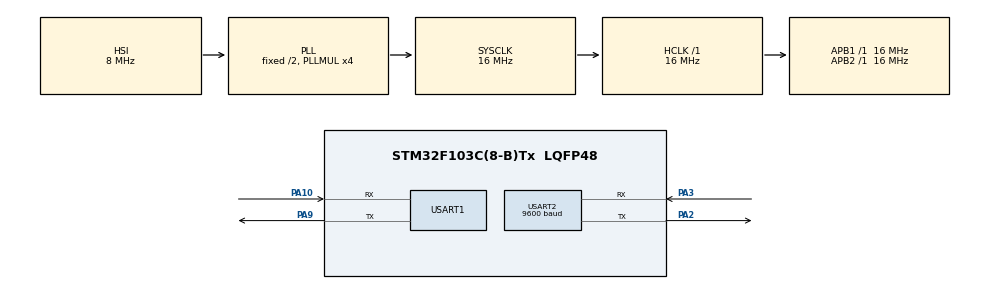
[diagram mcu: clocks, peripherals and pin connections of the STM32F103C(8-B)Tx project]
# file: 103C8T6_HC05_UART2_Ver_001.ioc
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Mcu.Family=STM32F1
Mcu.Name=STM32F103C(8-B)Tx
Mcu.Package=LQFP48
NVIC.PriorityGroup=NVIC_PRIORITYGROUP_4
PA10.Mode=Asynchronous
PA10.Signal=USART1_RX
PA13.Mode=Serial_Wire
PA13.Signal=SYS_JTMS-SWDIO
PA14.Mode=Serial_Wire
PA14.Signal=SYS_JTCK-SWCLK
PA2.Mode=Asynchronous
PA2.Signal=USART2_TX
PA3.Mode=Asynchronous
PA3.Signal=USART2_RX
PA9.Mode=Asynchronous
PA9.Signal=USART1_TX
PC14-OSC32_IN.Mode=LSE-External-Oscillator
PC14-OSC32_IN.Signal=RCC_OSC32_IN
PC15-OSC32_OUT.Mode=LSE-External-Oscillator
PC15-OSC32_OUT.Signal=RCC_OSC32_OUT
PD0-OSC_IN.Mode=HSE-External-Oscillator
PD0-OSC_IN.Signal=RCC_OSC_IN
PD1-OSC_OUT.Mode=HSE-External-Oscillator
PD1-OSC_OUT.Signal=RCC_OSC_OUT
ProjectManager.HeapSize=0x200
ProjectManager.StackSize=0x400
ProjectManager.TargetToolchain=STM32CubeIDE
RCC.AHBFreq_Value=16000000
RCC.APB1Freq_Value=16000000
RCC.APB1TimFreq_Value=16000000
RCC.APB2Freq_Value=16000000
RCC.APB2TimFreq_Value=16000000
RCC.HCLKFreq_Value=16000000
RCC.PLLMUL=RCC_PLL_MUL4
RCC.SYSCLKFreq_VALUE=16000000
RCC.SYSCLKSource=RCC_SYSCLKSOURCE_PLLCLK
RCC.USBFreq_Value=16000000
USART1.VirtualMode=VM_ASYNC
USART2.BaudRate=9600
USART2.VirtualMode=VM_ASYNC
board=custom

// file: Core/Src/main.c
/* USER CODE BEGIN Header */
/**
 ******************************************************************************
 * @file           : main.c
 * @brief          : Main program body
 ******************************************************************************
 * @attention
 *
 * Copyright (c) 2025 STMicroelectronics.
 * All rights reserved.
 *
 * This software is licensed under terms that can be found in the LICENSE file
 * in the root directory of this software component.
 * If no LICENSE file comes with this software, it is provided AS-IS.
 *
 ******************************************************************************
 */
/* USER CODE END Header */
#include "main.h"

/* USER CODE BEGIN Includes */
#include <stdio.h>
#include <string.h>
/* USER CODE END Includes */

UART_HandleTypeDef huart1;
UART_HandleTypeDef huart2;

/* USER CODE BEGIN PV */
uint8_t pc_rx;     // From UART1
uint8_t bt_rx;     // From UART2
char msg[100];
/* USER CODE END PV */

void SystemClock_Config(void);
static void MX_GPIO_Init(void);
static void MX_USART1_UART_Init(void);
static void MX_USART2_UART_Init(void);

int main(void) {

	/* MCU Configuration--------------------------------------------------------*/

	/* Reset of all peripherals, Initializes the Flash interface and the Systick. */
	HAL_Init();

	/* Configure the system clock */
	SystemClock_Config();

	/* Initialize all configured peripherals */
	MX_GPIO_Init();
	MX_USART1_UART_Init();
	MX_USART2_UART_Init();
	/* USER CODE BEGIN 2 */

	sprintf(msg, "\r\nHC-05 UART Bridge Started...\r\n");
	HAL_UART_Transmit(&huart1, (uint8_t*) msg, strlen(msg), 100);

	sprintf(msg, "Type on PC → Sent to Bluetooth\r\n");
	HAL_UART_Transmit(&huart1, (uint8_t*) msg, strlen(msg), 100);

	sprintf(msg, "Type from Phone App → Shows on PC\r\n\r\n");
	HAL_UART_Transmit(&huart1, (uint8_t*) msg, strlen(msg), 100);
	/* USER CODE END 2 */

	/* Infinite loop */
	while (1) {

		/* USER CODE BEGIN 3 */
		if (HAL_UART_Receive(&huart1, &pc_rx, 1, 1) == HAL_OK) {
			HAL_UART_Transmit(&huart2, &pc_rx, 1, 1);
		}

		/* --- HC-05 → PC --- */
		if (HAL_UART_Receive(&huart2, &bt_rx, 1, 1) == HAL_OK) {
			HAL_UART_Transmit(&huart1, &bt_rx, 1, 1);
		}
	}
	/* USER CODE END 3 */
}

void SystemClock_Config(void) {
	RCC_OscInitTypeDef RCC_OscInitStruct = { 0 };
	RCC_ClkInitTypeDef RCC_ClkInitStruct = { 0 };

	/** Initializes the RCC Oscillators according to the specified parameters
	 * in the RCC_OscInitTypeDef structure.
	 */
	RCC_OscInitStruct.OscillatorType = RCC_OSCILLATORTYPE_HSI;
	RCC_OscInitStruct.HSIState = RCC_HSI_ON;
	RCC_OscInitStruct.HSICalibrationValue = RCC_HSICALIBRATION_DEFAULT;
	RCC_OscInitStruct.PLL.PLLState = RCC_PLL_ON;
	RCC_OscInitStruct.PLL.PLLSource = RCC_PLLSOURCE_HSI_DIV2;
	RCC_OscInitStruct.PLL.PLLMUL = RCC_PLL_MUL4;
	if (HAL_RCC_OscConfig(&RCC_OscInitStruct) != HAL_OK) {
		Error_Handler();
	}

	/** Initializes the CPU, AHB and APB buses clocks
	 */
	RCC_ClkInitStruct.ClockType = RCC_CLOCKTYPE_HCLK | RCC_CLOCKTYPE_SYSCLK
			| RCC_CLOCKTYPE_PCLK1 | RCC_CLOCKTYPE_PCLK2;
	RCC_ClkInitStruct.SYSCLKSource = RCC_SYSCLKSOURCE_PLLCLK;
	RCC_ClkInitStruct.AHBCLKDivider = RCC_SYSCLK_DIV1;
	RCC_ClkInitStruct.APB1CLKDivider = RCC_HCLK_DIV1;
	RCC_ClkInitStruct.APB2CLKDivider = RCC_HCLK_DIV1;

	if (HAL_RCC_ClockConfig(&RCC_ClkInitStruct, FLASH_LATENCY_0) != HAL_OK) {
		Error_Handler();
	}
}

static void MX_USART1_UART_Init(void) {

	huart1.Instance = USART1;
	huart1.Init.BaudRate = 115200;
	huart1.Init.WordLength = UART_WORDLENGTH_8B;
	huart1.Init.StopBits = UART_STOPBITS_1;
	huart1.Init.Parity = UART_PARITY_NONE;
	huart1.Init.Mode = UART_MODE_TX_RX;
	huart1.Init.HwFlowCtl = UART_HWCONTROL_NONE;
	huart1.Init.OverSampling = UART_OVERSAMPLING_16;
	if (HAL_UART_Init(&huart1) != HAL_OK) {
		Error_Handler();
	}

}

static void MX_USART2_UART_Init(void) {

	huart2.Instance = USART2;
	huart2.Init.BaudRate = 9600;
	huart2.Init.WordLength = UART_WORDLENGTH_8B;
	huart2.Init.StopBits = UART_STOPBITS_1;
	huart2.Init.Parity = UART_PARITY_NONE;
	huart2.Init.Mode = UART_MODE_TX_RX;
	huart2.Init.HwFlowCtl = UART_HWCONTROL_NONE;
	huart2.Init.OverSampling = UART_OVERSAMPLING_16;
	if (HAL_UART_Init(&huart2) != HAL_OK) {
		Error_Handler();
	}

}

static void MX_GPIO_Init(void) {

	/* GPIO Ports Clock Enable */
	__HAL_RCC_GPIOC_CLK_ENABLE();
	__HAL_RCC_GPIOD_CLK_ENABLE();
	__HAL_RCC_GPIOA_CLK_ENABLE();

}

void Error_Handler(void) {
	__disable_irq();
	while (1) {
	}
}
